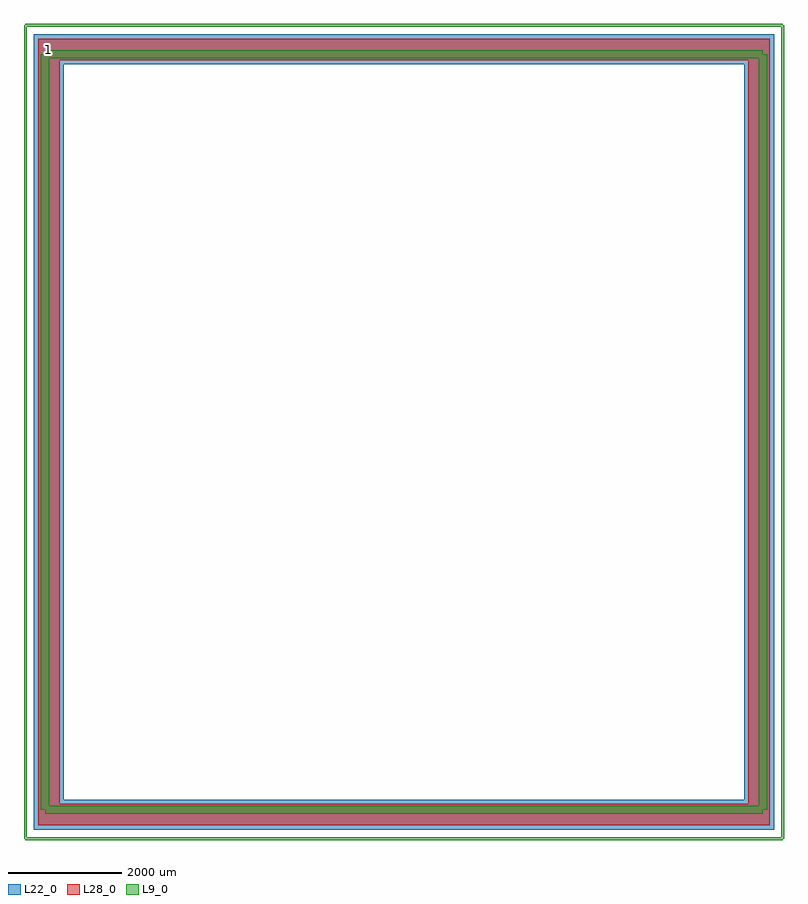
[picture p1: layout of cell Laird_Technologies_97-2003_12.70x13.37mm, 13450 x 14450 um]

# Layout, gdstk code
import gdstk
lib = gdstk.Library(unit=1e-6, precision=1e-09)
def R(c, l, rs):  # rectangles x0, y0, x1, y1
    for r in rs: c.add(gdstk.rectangle(r[:2], r[2:], *l))
L9_0 = (9, 0)
L22_0 = (22, 0)
L28_0 = (28, 0)

laird_technologies_97_20 = lib.new_cell('Laird_Technologies_97-2003_12.70x13.37mm')
R(laird_technologies_97_20, L22_0, [(-6550,-7035,-6020,-6505), (-6170,-7035,6170,-6505), (6020,-7035,6550,-6505), (-6550,-6655,-6020,6655), (6020,-6655,6550,6655), (-6550,6505,-6020,7035), (-6170,6505,6170,7035), (6020,6505,6550,7035)])
R(laird_technologies_97_20, L28_0, [(-6475,-6960,-6095,-6580), (-6095,-6960,6095,-6580), (6095,-6960,6475,-6580), (-6475,-6580,-6095,6580), (6095,-6580,6475,6580), (-6475,6580,-6095,6960), (-6095,6580,6095,6960), (6095,6580,6475,6960)])
laird_technologies_97_20.add(gdstk.FlexPath([(6350,6685),(-6350,6685)], 149.998, ends="flush", simple_path=True, layer=9, datatype=0))  # L9_0
laird_technologies_97_20.add(gdstk.FlexPath([(6350,-6685),(6350,6685)], 149.998, ends="flush", simple_path=True, layer=9, datatype=0))  # L9_0
laird_technologies_97_20.add(gdstk.FlexPath([(-6350,-6685),(6350,-6685)], 149.998, ends="flush", simple_path=True, layer=9, datatype=0))  # L9_0
laird_technologies_97_20.add(gdstk.FlexPath([(-6350,6685),(-6350,-6685)], 149.998, ends="flush", simple_path=True, layer=9, datatype=0))  # L9_0
laird_technologies_97_20.add(gdstk.FlexPath([(6700,7200),(-6700,7200)], 50, ends="flush", simple_path=True, layer=9, datatype=0))  # L9_0
laird_technologies_97_20.add(gdstk.FlexPath([(6700,-7200),(6700,7200)], 50, ends="flush", simple_path=True, layer=9, datatype=0))  # L9_0
laird_technologies_97_20.add(gdstk.FlexPath([(-6700,-7200),(6700,-7200)], 50, ends="flush", simple_path=True, layer=9, datatype=0))  # L9_0
laird_technologies_97_20.add(gdstk.FlexPath([(-6700,7200),(-6700,-7200)], 50, ends="flush", simple_path=True, layer=9, datatype=0))  # L9_0
laird_technologies_97_20.add(gdstk.Label('1', (-6285,6770), layer=28, texttype=0))
laird_technologies_97_20.add(gdstk.Label('type', (0,-7960), layer=9, texttype=0))
laird_technologies_97_20.add(gdstk.Label('devicename', (0,7960), layer=9, texttype=0))

lib.write_gds('Laird_Technologies_97-2003_12.70x13.37mm.gds')
